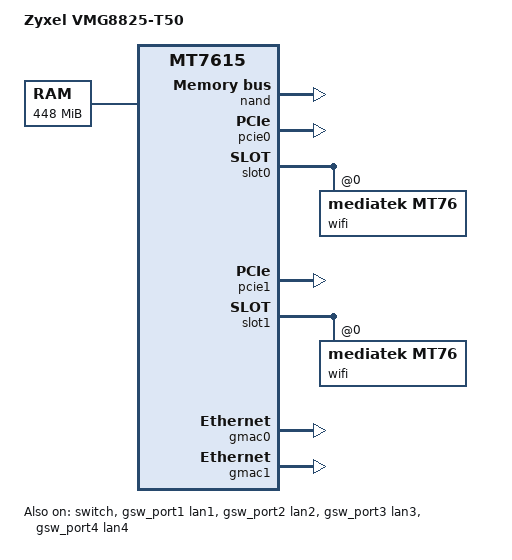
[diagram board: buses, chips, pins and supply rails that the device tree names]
// SPDX-License-Identifier: (GPL-2.0-only OR BSD-2-Clause)
/dts-v1/;

#include "en751627.dtsi"
#include "en751627_zyxel_vmg8825-t50-mt7615-eeprom.dtsi"

/ {
	model = "Zyxel VMG8825-T50";
	compatible = "zyxel,vmg8825-t50", "econet,en751627";

	memory@0 {
		device_type = "memory";
		/*
		 * OEM bootlog reports 512MB DRAM, but the vendor kernel only
		 * mapped ~432MB (rest reserved for its own use, reason
		 * unknown -- vendor software choice or genuinely
		 * hardware/bootloader-reserved). Bumped from the original
		 * conservative 256MB to 448MB (0x1c000000): the smaller of
		 * the two previously-untried candidates, only ~16MB past the
		 * vendor's own proven-working ~432MB rather than the full,
		 * untested 512MB. UNTESTED ON REAL HARDWARE -- verify via a
		 * netboot session (bldr-patch/netboot.py) before trusting
		 * this for a real flash.
		 */
		reg = <0x00000000 0x1c000000>;
	};

	chosen {
		stdout-path = "/serial@1fbf0000:115200";
		/* rootfs is UBI-formatted (see image/en751627.mk); kernel
		 * auto-attaches by MTD partition label since zloader has no
		 * UBI awareness of its own. Partition is named "ubi", NOT
		 * "rootfs": a legacy OpenWrt hack (hack-6.18/420-mtd-support-
		 * OpenWrt-s-MTD_ROOTFS_ROOT_DEV.patch) claims ROOT_DEV as raw
		 * mtdblock for any MTD partition literally named "rootfs"
		 * before UBI attaches, starving pending-6.18/493's correct
		 * "set ROOT_DEV to ubiblock rootfs volume" logic (which only
		 * fires if ROOT_DEV is still unset). The UBI *volume* inside
		 * (created by ubinize-image.sh) is still named "rootfs", so
		 * 493 still matches and sets root to /dev/ubiblockN_0 -- as
		 * long as nothing claimed ROOT_DEV first. Same pattern as
		 * en751221_huawei_hg2821t-u.dts (rootfs_a/rootfs_b labels).
		 *
		 * A SECOND, independent UBI instance is attached on the
		 * separate "rootfs_data" MTD partition (see the partition
		 * node further down -- the misc/reservearea tail, not the
		 * "wwan" partition, which was too small to hold a UBIFS
		 * volume at all). This is where the writable overlay volume
		 * lives. "ubi" (tclinux) stays a STATIC, read-only
		 * squashfs-only UBI image with no dynamic/autoresize volume
		 * of its own, so its raw bytes never change after flashing --
		 * the OEM bootloader's whole-partition boot-time checksum on
		 * tclinux therefore stays valid forever, which is what makes
		 * an unattended coldboot possible once the bootloader is also
		 * patched (see BOOTLOADER-PATCH.md). fstools' mount_root
		 * finds the "rootfs_data" UBI volume by name across ALL
		 * attached UBI instances, not just the one carrying "rootfs"
		 * -- this split-partition pattern is an established OpenWrt
		 * technique, not novel to this board.
		 */
		bootargs = "ubi.mtd=ubi ubi.mtd=rootfs_data";
	};
};

&nand {
	status = "okay";
	econet,bmt;

	/*
	 * Winbond W25M02GV = 2Gb / 256MiB SPI NAND (SLC).
	 *
	 * Layout below is CONFIRMED from the OEM boot capture ("Creating 13
	 * MTD partitions", see the comment above partition@3880000) and
	 * matches the OEM mtdparts string on the OpenWrt wiki:
	 *   0[bootloader],0[romfile],56M[tclinux],-[tclinux_slave],
	 *   1M[wwan],4M[data],1M[rom-d],118M[misc]
	 * These offsets are properties of this firmware/bootloader build
	 * (factory NAND layout), not of one physical unit -- see
	 * install-guide/README.md's precondition section. Still worth a
	 * sanity check against your own device's `cat /proc/mtd` /
	 * `dmesg | grep -i -E 'mtd|partition|nand'` before flashing, as
	 * confirmation that your unit matches that precondition.
	 */
	partitions {
		compatible = "fixed-partitions";
		#address-cells = <1>;
		#size-cells = <1>;

		partition@0all {
			label = "all_of_flash";
			reg = <0x0 0x10000000>;	/* full 256MiB */
			read-only;
		};

		bootloader_part: partition@0 {
			label = "bootloader";
			reg = <0x0 0x40000>;
			/* Deliberately NOT read-only here: needed so a booted OpenWrt
			 * userspace can nandwrite a patched zloader stage2 here
			 * (CRC-compare bypass patch, see BOOTLOADER-PATCH.md
			 * and bldr-patch/patch_stage2_crc_bypass.py). ONLY ever
			 * written deliberately, from a booted shell, with a
			 * pre-write backup + post-write readback/md5 verify -- see
			 * install-guide/README.md §4 before touching this.
			 *
			 * This is the "unlocked"/installer variant used ONLY to
			 * apply that one patch. Once it's applied, reflash the
			 * "-locked" device variant (en751627_zyxel_vmg8825-t50-locked.dts)
			 * instead, which overrides this node back to read-only --
			 * see install-guide/README.md SS7a.
			 */
		};

		partition@40000 {
			label = "romfile";
			reg = <0x40000 0x40000>;
			read-only;
		};

		partition@80000 {
			label = "tclinux";
			reg = <0x80000 0x3800000>;	/* 56MiB image slot */
			read-only;
			econet,enable-remap;
		};

		/* Nested rootfs inside tclinux: UBI image (squashfs + ubifs
		 * overlay volume), NOT a raw squashfs -- must stay writable
		 * for UBI's dynamic rootfs_data volume to persist changes.
		 * Label deliberately NOT "rootfs" -- see chosen/bootargs
		 * comment above. */
		partition@480000 {
			label = "ubi";
			reg = <0x480000 0x3400000>;
		};

		/*
		 * Offsets below are CONFIRMED from the OEM boot capture
		 * (oem_boot_capture.log, "Creating 13 MTD partitions"):
		 *   0x0080000-0x3880000 tclinux (main, above)
		 *   0x3880000-0x6ee0000 tclinux_slave  (OEM firmware = our recovery)
		 *   0x6ee0000-0x6fe0000 wwan   (1M)
		 *   0x6fe0000-0x73e0000 data   (4M)
		 *   0x73e0000-0x74e0000 rom-d  (1M)
		 *   0x74e0000-0xeae0000 reservearea (WiFi CALDATA + OEM F-Secure
		 *     "misc"; total size 0x7600000 = 118MiB, matches OEM's own
		 *     "118M[misc]" mtdparts string EXACTLY. Split below into a
		 *     read-only "reservearea" (caldata + F-Secure, untouched)
		 *     and a writable "rootfs_data" tail (OpenWrt overlay).)
		 */

		/* OEM firmware slot -- keep untouched, this is our zloader recovery */
		partition@3880000 {
			label = "tclinux_slave";
			reg = <0x3880000 0x3660000>;
			read-only;
		};

		partition@6ee0000 {
			label = "wwan";
			reg = <0x6ee0000 0x100000>;
		};

		partition@6fe0000 {
			label = "data";
			reg = <0x6fe0000 0x400000>;
		};

		partition@73e0000 {
			label = "rom-d";
			reg = <0x73e0000 0x100000>;
		};

		/*
		 * This partition was long assumed (via an OEM log reference,
		 * never content-verified) to hold WiFi calibration
		 * (CALDATA_default.bin) at offset 0x0. It doesn't: the whole
		 * 0x2400000 region is OEM F-Secure "SENSE SDK" filesystem
		 * data start to finish (deleted/unlinked JFFS2 markers,
		 * sense.* scripts) -- there is no WiFi caldata anywhere in
		 * this partition. See the WiFi section below for how that's
		 * handled instead (MT7615E cards don't need it here). Kept
		 * read-only and untouched regardless, since it's still live
		 * OEM security-scan data -- only the confirmed-empty tail
		 * beyond it (the "rootfs_data" partition node right after)
		 * was repurposed for OpenWrt's overlay.
		 */
		factory: partition@74e0000 {
			label = "reservearea";
			reg = <0x74e0000 0x2400000>;
			read-only;
		};

		/*
		 * The unused tail of the OEM "reservearea"/"misc" partition,
		 * repurposed for OpenWrt's writable overlay. Confirmed 100%
		 * erased (0xFF) from here through the end of "reservearea"
		 * (0xeae0000) -- well clear of both the WiFi caldata region
		 * and the OEM F-Secure data (first ~36MiB of "reservearea"
		 * above). The much smaller "wwan" partition (1MiB) was
		 * considered first but rejected: UBIFS needs at least 17 LEBs
		 * (~2.1MiB) to mount at all, so it could never have worked
		 * regardless of tuning. This partition (82MiB) is comfortably
		 * above that floor. UBI-formatted, attached as a SECOND,
		 * independent UBI instance from tclinux's own (see
		 * chosen/bootargs above) holding only the "rootfs_data"
		 * volume -- kept OUT of tclinux's own UBI so tclinux's raw
		 * bytes stay static forever after flashing (needed for the
		 * OEM bootloader's boot-time whole-partition checksum on
		 * tclinux to stay valid, see BOOTLOADER-PATCH.md).
		 */
		partition@98e0000 {
			label = "rootfs_data";
			reg = <0x98e0000 0x5200000>;
		};

		/*
		 * Newly-discovered tail of the 256MiB chip, past the end of
		 * "misc"/reservearea (0xeae0000) -- see the WiFi comment below
		 * for how it was found. Holds two real, per-radio, per-UNIT
		 * MT7615 calibration structures (19880 bytes each, 128KiB
		 * apart). Deliberately read via nvmem-cells below instead of
		 * copying the bytes into the devicetree: this data is specific
		 * to the one physical router it was dumped from (it embeds a
		 * real MAC address and per-chain TX trim values), so baking it
		 * into the shared .dts would ship THAT ONE unit's calibration
		 * to every device flashed with this image. Reading it live
		 * from each unit's own flash at this offset is the correct,
		 * per-device-safe approach -- same nvmem-cells pattern already
		 * used by en751221_tplink_archer-vr1200v-v2.dts in this same
		 * tree. Only a 256KiB slice is mapped; the remaining ~20.75MiB
		 * of this tail stays unmapped/unused.
		 */
		partition@eae0000 {
			label = "wifi-caldata";
			reg = <0xeae0000 0x40000>;
			read-only;

			nvmem-layout {
				compatible = "fixed-layout";
				#address-cells = <1>;
				#size-cells = <1>;

				eeprom_radio0: eeprom@0 {
					reg = <0x0 0x4da8>;
				};

				eeprom_radio1: eeprom@20000 {
					reg = <0x20000 0x4da8>;
				};
			};
		};
	};
};

/*
 * WiFi: OEM wiki lists MediaTek MT7615 (Wi-Fi 5, dual-band), PCIe-attached
 * (ra0-ra3 / rai0-rai3 in the vendor log). The EN751627 exposes two PCIe
 * links to the same chip, same as the EX3301-T0 reference board.
 *
 * CORRECTION: this unit DOES have real per-radio factory calibration in
 * flash -- it was just never at any offset previously checked. `&factory
 * 0x0000` and cfg_manager's fallback at partition-relative offset 0x9000
 * do land in OEM F-Secure "SENSE SDK" data as documented before, but
 * that's only true of the first ~36MiB of the "misc"/reservearea
 * partition. The OEM boot log's "Creating 13 MTD partitions" was never
 * fully accounted for (only 8 partitions are named/sized in our notes) --
 * the ~21MiB tail of the 256MiB chip, past the end of "misc" (0xeae0000
 * onward), was never carved into a DT partition or scanned at all. A raw
 * byte-signature scan of the full NAND dump found two valid, distinct,
 * populated MT7615 eeprom structures right there (0x0eae0000 and
 * 0x0eb00000, 128KiB apart -- one per radio); see the new
 * "wifi-caldata" partition above.
 *
 * FIX: each radio reads its OWN calibration live from flash at boot via
 * nvmem-cells (see "wifi-caldata"/nvmem-layout above), NOT a static
 * mediatek,eeprom-data blob. A static blob would bake THIS ONE unit's
 * dumped bytes (including a real, per-unit MAC address) into every image
 * built from this .dts, which would be wrong for anyone else's hardware.
 * mt76_get_of_eeprom() (drivers/net/wireless/mediatek/mt76/eeprom.c)
 * checks for an inline `mediatek,eeprom-data` property FIRST, before ever
 * trying mtd/nvmem, so the two are mutually exclusive by construction --
 * this device must not carry an inline blob. Both radios still get an
 * explicit local-mac-address override (unchanged from before), so the
 * MAC embedded in each unit's own eeprom data is never actually used.
 * Same nvmem-cells pattern already used by
 * en751221_tplink_archer-vr1200v-v2.dts in this tree.
 *
 * UNTESTED ON REAL HARDWARE YET -- verify iwinfo txpowerlist / actual
 * signal strength against the previous generic-blob baseline. The
 * generic-blob include above is left in place, unreferenced, as a manual
 * fallback: if a given unit's flash at this offset ever reads back
 * empty/invalid, swap that radio's node back to
 * `mediatek,eeprom-data = /bits/ 8 <MT7615_GENERIC_EEPROM>;` (removing
 * its nvmem-cells property) rather than relying on any automatic
 * runtime fallback -- there isn't one.
 */
&pcie0 {
	status = "okay";
};

&slot0 {
	status = "okay";

	wifi@0,0 {
		compatible = "mediatek,mt76";
		reg = <0x0000 0 0 0 0>;
		big-endian;
		local-mac-address = [AA BB CC DD EE 10];
		nvmem-cells = <&eeprom_radio0>;
		nvmem-cell-names = "eeprom";
	};
};

&pcie1 {
	status = "okay";

	/* Second link to the same wifi chip */
};

&slot1 {
	status = "okay";

	wifi@0,0 {
		compatible = "mediatek,mt76";
		reg = <0x0000 0 0 0 0>;
		big-endian;
		local-mac-address = [AA BB CC DD EE 11];
		nvmem-cells = <&eeprom_radio1>;
		nvmem-cell-names = "eeprom";
	};
};

/*
 * Ethernet bring-up.
 *
 * LAN1-4 now go through the on-die MT7530-class DSA `switch` (see
 * en751627.dtsi) instead of the old econet-eth PHY_IAC bit-bang hack --
 * gmac0 is just the switch's CPU port uplink. CONFIRMED on hardware
 * 2026-09-20: clean boot (no panic), mt7530-mmio probes, lan1-4 DSA
 * netdevs present, lan3 (cable connected) negotiated 1Gbps/Full with
 * live RX/TX traffic through br-lan -- DSA wiring verified working.
 *
 * gmac1 (ETHWAN) is unchanged and still UNVERIFIED on hardware -- it sits
 * outside the switch on a standalone external PHY chip that the
 * econet-eth driver never initializes in software (see en751627.dtsi).
 * Test with a cable in the dedicated ETHWAN port specifically (not
 * LAN1-4). If the "nas10" interface (eth1) doesn't come up / pass
 * traffic, the WAN PHY likely needs a GPIO reset line released or actual
 * MDIO init that this driver doesn't do -- no schematic/GPIO info for
 * this found in device-research yet.
 */
&gmac0 {
	status = "okay";
	/*
	 * No local-mac-address override: AA:BB:CC:DD:EE:10 is already used
	 * by wifi slot0 and AA:BB:CC:DD:EE:11 by slot1 (see above) -- both
	 * match this unit's real factory MAC block per bootloader ATSH.
	 * gmac0 gets whatever the driver/kernel assigns by default for this
	 * first link test; assign a real LAN MAC (e.g. AA:BB:CC:DD:EE:30,
	 * from the same factory-assigned block) once this is wired to
	 * actual LAN traffic.
	 */
};

&gmac1 {
	status = "okay";
};

&switch {
	status = "okay";
};

&gsw_port1 {
	label = "lan1";
	status = "okay";
};

&gsw_port2 {
	label = "lan2";
	status = "okay";
};

&gsw_port3 {
	label = "lan3";
	status = "okay";
};

&gsw_port4 {
	label = "lan4";
	status = "okay";
};
